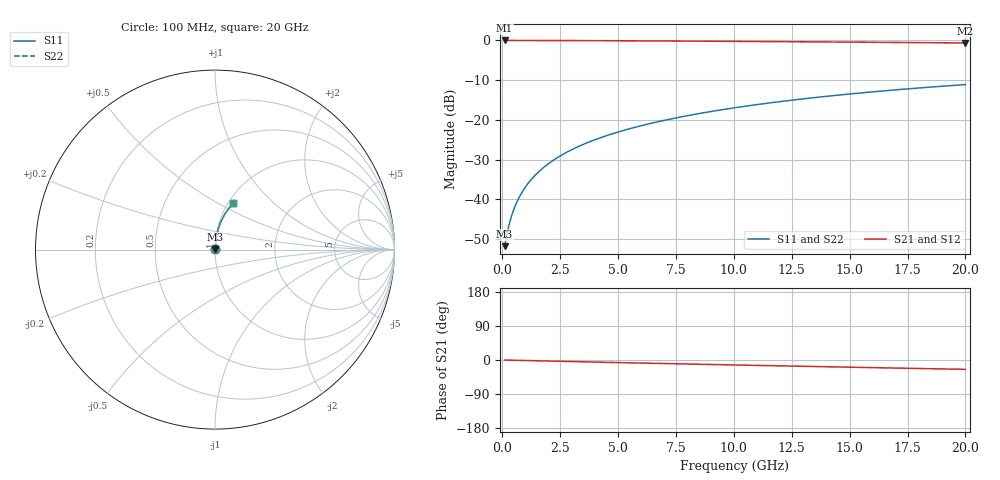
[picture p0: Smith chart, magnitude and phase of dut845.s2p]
! Touchstone file exported from HFSS 2024.1.0
!  File:  C:/UserFiles/LocalFiles/RDL_TSV_Batchsim/temp_RDL_top_845_1779855459.aedt
!  Generated:  12:19:54 PM May 27, 2026
!  Design:  RDL_top
!  Project:  temp_RDL_top_845_1779855459
!  Setup:  Setup1
!  Solution:  Sweep
! Variables:
!  dtsv = 10.80580581um
!  hbump = 3um
!  htsv = 82.63um
!  ldown = 100um
!  lrdl = 322.56um
!  p = 40
!  p1 = 41.33um
!  rhole = 1um
!  t = 450um
!  tdown = 3.915915916um
!  trdl = 4.02um
!  wdown = 15.38538539um
!  wrdl = 14.33um
# GHz S MA R 50.000000
! Terminal data exported
! Port[1] = Box2_T1
! Port[2] = Box2_T2
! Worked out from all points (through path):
!   200 points, 100 MHz to 20 GHz, reference 50 ohm
!   highest |S21| = -0.02 dB at 100 MHz (marker M1); lowest = -0.6 dB at 20 GHz (marker M2)
!   group delay of S21, straight-line fit = 3.41 ps
!   lowest |S11| = -51.8 dB at 100 MHz (marker M3), VSWR 1.01, Z = 50.2 + j0.149 ohm
!   |S11| at or under -10 dB: start of sweep to end of sweep
!   |S22| runs from -51.8 to -11.1 dB; largest |S21 - S12| = 6e-15
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0.1  0.00258 35.1  0.9979 -0.1  0.9979 -0.1  0.00258 35.1
! Gamma 0 0 0 0
! Port Impedance 50 0 50 0
0.2  0.003651 53.5  0.9978 -0.3  0.9978 -0.3  0.003651 53.5
0.3  0.004899 62.8  0.9978 -0.4  0.9978 -0.4  0.004899 62.8
0.4  0.006201 68.2  0.9977 -0.6  0.9977 -0.6  0.006201 68.2
0.5  0.007529 71.8  0.9976 -0.7  0.9976 -0.7  0.007529 71.8
0.6  0.008872 74.3  0.9975 -0.8  0.9975 -0.8  0.008872 74.3
0.8  0.01159 77.5  0.9974 -1.1  0.9974 -1.1  0.01159 77.5
1.1  0.01571 80.3  0.9971 -1.5  0.9971 -1.5  0.01571 80.3
1.5  0.02126 82.1  0.9967 -2.1  0.9967 -2.1  0.02126 82.1
1.8  0.02543 82.9  0.9964 -2.5  0.9964 -2.5  0.02543 82.9
2.1  0.02962 83.4  0.996 -2.9  0.996 -2.9  0.02962 83.4
2.7  0.03801 83.9  0.995 -3.7  0.995 -3.7  0.03801 83.9
3.5  0.04922 84.0  0.9934 -4.8  0.9934 -4.8  0.04922 84.0
4.2  0.05907 83.8  0.9917 -5.7  0.9917 -5.7  0.05906 83.8
5  0.07035 83.4  0.9896 -6.8  0.9896 -6.8  0.07035 83.4
5.9  0.0831 82.9  0.9869 -8.0  0.9869 -8.0  0.0831 82.9
6.8  0.0959 82.2  0.984 -9.1  0.984 -9.1  0.09589 82.2
8.3  0.1173 80.9  0.9787 -11.0  0.9787 -11.0  0.1173 80.9
10.1  0.143 79.2  0.9718 -13.2  0.9718 -13.2  0.143 79.2
13.4  0.1896 75.7  0.9583 -17.2  0.9583 -17.2  0.1896 75.7
16.7  0.2348 72.0  0.9439 -21.0  0.9439 -21.0  0.2348 72.0
20  0.2781 68.3  0.9285 -24.6  0.9285 -24.6  0.278 68.3
